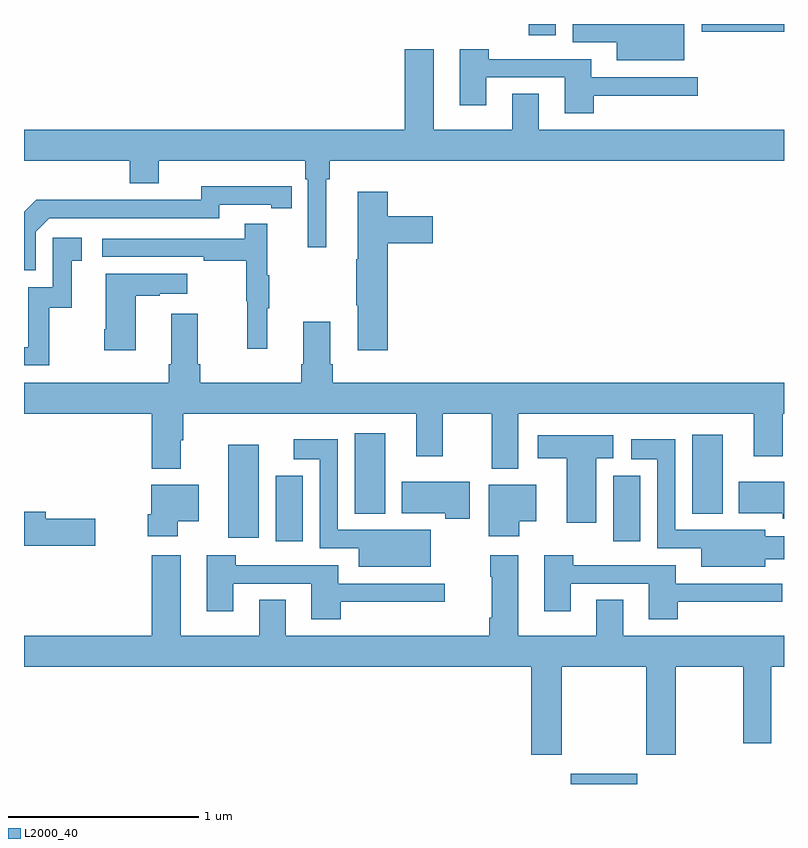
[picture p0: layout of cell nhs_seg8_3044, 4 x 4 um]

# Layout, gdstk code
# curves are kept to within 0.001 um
import gdstk
lib = gdstk.Library(unit=1e-6, precision=1e-09)
def R(c, l, rs):  # rectangles x0, y0, x1, y1
    for r in rs: c.add(gdstk.rectangle(r[:2], r[2:], *l))
def P(c, l, *ps):  # polygons
    for p in ps: c.add(gdstk.Polygon(p, *l))
L2000_40 = (2000, 40)

nhs_seg8_3044 = lib.new_cell('nhs_seg8_3044')
R(nhs_seg8_3044, L2000_40, [(303.878,1099.9,304.228,1099.954), (302.324,1101.177,302.467,1101.523), (304.1,1101.177,304.243,1101.523), (302.075,1101.195,302.236,1101.685), (302.741,1101.323,302.902,1101.745), (304.517,1101.323,304.678,1101.739), (303.656,1103.841,303.799,1103.9), (304.568,1103.86,305,1103.9)])
P(nhs_seg8_3044, L2000_40, [(304.474,1103.9),(303.888,1103.9),(303.888,1103.805),(304.121,1103.805),(304.121,1103.708),(304.474,1103.708)],
  [(303.998,1103.522),(304.546,1103.522),(304.546,1103.619),(303.985,1103.619),(303.985,1103.715),(303.446,1103.715),(303.446,1103.767),(303.293,1103.767),(303.293,1103.472),(303.433,1103.472),(303.433,1103.619),(303.845,1103.619),(303.845,1103.43),(303.998,1103.43)],
  [(302.59,1103.084),(302.609,1103.084),(302.609,1103.18),(305,1103.18),(305,1103.344),(303.709,1103.344),(303.709,1103.534),(303.569,1103.534),(303.569,1103.344),(303.157,1103.344),(303.157,1103.767),(303.005,1103.767),(303.005,1103.344),(301,1103.344),(301,1103.18),(301.556,1103.18),(301.556,1103.063),(301.708,1103.063),(301.708,1103.18),(302.48,1103.18),(302.48,1103.084),(302.493,1103.084),(302.493,1102.725),(302.59,1102.725)],
  [(301.062,1102.806),(301.134,1102.878),(302.028,1102.878),(302.028,1102.95),(302.3,1102.95),(302.3,1102.93),(302.408,1102.93),(302.408,1103.046),(301.932,1103.047),(301.932,1102.974),(301.472,1102.974),(301.472,1102.976),(301.064,1102.976),(301,1102.912),(301,1102.605),(301.062,1102.605)],
  [(302.915,1102.745),(303.151,1102.745),(303.151,1102.887),(302.915,1102.887),(302.915,1103.017),(302.756,1103.017),(302.756,1102.661),(302.749,1102.661),(302.749,1102.42),(302.756,1102.42),(302.756,1102.182),(302.915,1102.182)],
  [(302.279,1102.403),(302.29,1102.403),(302.29,1102.577),(302.279,1102.577),(302.279,1102.849),(302.161,1102.849),(302.161,1102.77),(301.413,1102.77),(301.413,1102.674),(301.945,1102.674),(301.945,1102.654),(302.169,1102.654),(302.169,1102.44),(302.176,1102.44),(302.176,1102.191),(302.279,1102.191)],
  [(301.132,1102.407),(301.25,1102.407),(301.25,1102.653),(301.303,1102.653),(301.303,1102.774),(301.152,1102.774),(301.152,1102.515),(301.023,1102.515),(301.023,1102.2),(301,1102.2),(301,1102.104),(301.132,1102.104)],
  [(301.588,1102.471),(301.715,1102.471),(301.715,1102.481),(301.858,1102.481),(301.858,1102.585),(301.43,1102.585),(301.43,1102.294),(301.423,1102.294),(301.423,1102.182),(301.588,1102.182)],
  [(301.825,1101.71),(301.838,1101.71),(301.838,1101.848),(303.065,1101.848),(303.065,1101.624),(303.205,1101.624),(303.205,1101.848),(303.461,1101.848),(303.461,1101.56),(303.601,1101.56),(303.601,1101.848),(304.841,1101.848),(304.841,1101.624),(304.994,1101.624),(304.994,1101.848),(305,1101.848),(305,1102.012),(302.624,1102.012),(302.624,1102.108),(302.611,1102.108),(302.611,1102.333),(302.471,1102.333),(302.471,1102.108),(302.459,1102.108),(302.459,1102.012),(301.928,1102.012),(301.928,1102.108),(301.915,1102.108),(301.915,1102.375),(301.775,1102.375),(301.775,1102.108),(301.763,1102.108),(301.763,1102.012),(301,1102.012),(301,1101.848),(301.673,1101.848),(301.673,1101.56),(301.825,1101.56)],
  [(304.012,1101.614),(304.102,1101.614),(304.102,1101.736),(303.705,1101.736),(303.705,1101.614),(303.857,1101.614),(303.857,1101.276),(304.012,1101.276)],
  [(304.9,1101.083),(305,1101.083),(305,1101.205),(304.9,1101.205),(304.9,1101.238),(304.674,1101.238),(304.674,1101.237),(304.428,1101.237),(304.428,1101.715),(304.197,1101.715),(304.197,1101.608),(304.332,1101.608),(304.332,1101.141),(304.565,1101.141),(304.565,1101.044),(304.9,1101.044)],
  [(303.142,1101.238),(302.898,1101.238),(302.898,1101.237),(302.652,1101.237),(302.652,1101.715),(302.421,1101.715),(302.421,1101.608),(302.556,1101.608),(302.556,1101.141),(302.762,1101.141),(302.762,1101.044),(303.142,1101.044)],
  [(305,1101.49),(304.763,1101.49),(304.763,1101.326),(304.993,1101.326),(304.993,1101.296),(305,1101.296)],
  [(303.346,1101.49),(302.987,1101.49),(302.987,1101.326),(303.217,1101.326),(303.217,1101.296),(303.346,1101.296)],
  [(303.607,1101.284),(303.697,1101.284),(303.697,1101.475),(303.446,1101.475),(303.446,1101.203),(303.607,1101.203)],
  [(301.81,1101.284),(301.921,1101.284),(301.921,1101.475),(301.67,1101.475),(301.67,1101.321),(301.652,1101.321),(301.652,1101.203),(301.81,1101.203)],
  [(301.375,1101.296),(301.114,1101.296),(301.114,1101.332),(301,1101.332),(301,1101.154),(301.375,1101.154)],
  [(302.666,1100.858),(303.214,1100.858),(303.214,1100.955),(302.653,1100.955),(302.653,1101.051),(302.114,1101.051),(302.114,1101.103),(301.961,1101.103),(301.961,1100.808),(302.101,1100.808),(302.101,1100.955),(302.513,1100.955),(302.513,1100.766),(302.666,1100.766)],
  [(303.831,1100.516),(304.276,1100.516),(304.276,1100.055),(304.431,1100.055),(304.431,1100.516),(304.786,1100.516),(304.786,1100.115),(304.933,1100.115),(304.933,1100.516),(305,1100.516),(305,1100.68),(304.153,1100.68),(304.153,1100.87),(304.013,1100.87),(304.013,1100.68),(303.601,1100.68),(303.601,1101.103),(303.454,1101.103),(303.454,1100.99),(303.461,1100.99),(303.461,1100.776),(303.449,1100.776),(303.449,1100.68),(302.377,1100.68),(302.377,1100.87),(302.237,1100.87),(302.237,1100.68),(301.825,1100.68),(301.825,1101.103),(301.673,1101.103),(301.673,1100.68),(301,1100.68),(301,1100.516),(303.671,1100.516),(303.671,1100.055),(303.831,1100.055)],
  [(304.442,1100.858),(304.99,1100.858),(304.99,1100.955),(304.429,1100.955),(304.429,1101.051),(303.89,1101.051),(303.89,1101.103),(303.737,1101.103),(303.737,1100.808),(303.877,1100.808),(303.877,1100.955),(304.289,1100.955),(304.289,1100.766),(304.442,1100.766)])

lib.write_gds('nhs_seg8_3044.gds')
